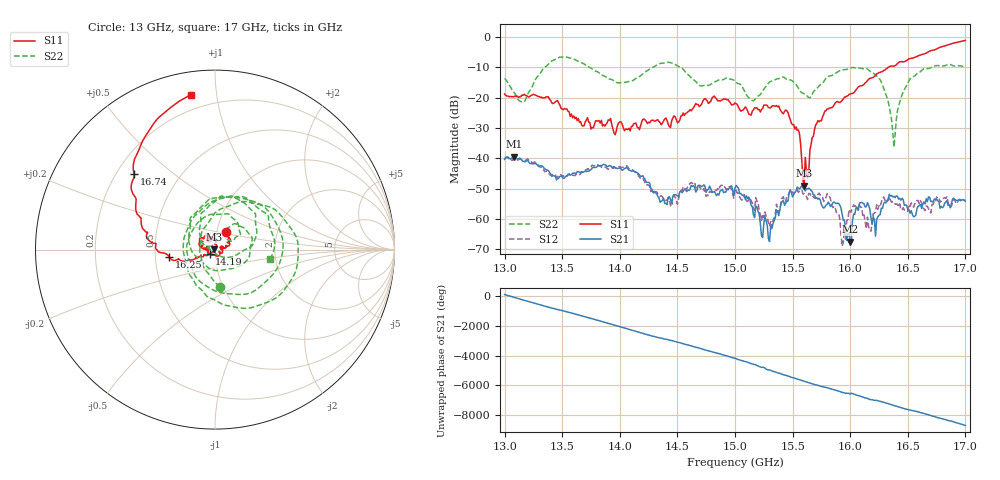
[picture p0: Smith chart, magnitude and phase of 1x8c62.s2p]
!Keysight Technologies,P9374A,MY57211807,A.19.30.04
!Date: Friday, May 08, 2026 15:12:56
!Correction: S11(C  2-Port  )
!S21(C  2-Port  )
!S12(C  2-Port  )
!S22(C  2-Port  )
!S2P File: Measurements: S11, S21, S12, S22:
# Hz S  dB  R 50
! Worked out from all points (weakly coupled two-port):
!   401 points, 13 GHz to 17 GHz, reference 50 ohm
!   highest |S21| = -39.43 dB at 13.08 GHz (marker M1); lowest = -67.5 dB at 16 GHz (marker M2)
!   lowest |S11| = -49.0 dB at 15.6 GHz (marker M3), VSWR 1.01, Z = 49.7 + j0.0959 ohm
!   |S11| at or under -10 dB: start of sweep to 16.33 GHz
!   |S22| runs from -36.3 to -6.6 dB; largest |S21 - S12| = 0.0011
!   S11 on the Smith chart (normalised r, x): 13 GHz: 1.11, +0.22; 14.19 GHz: 0.94, -0.05; 16.25 GHz: 0.59, -0.05; 16.74 GHz: 0.27, +0.37; 17 GHz: 0.12, +0.85
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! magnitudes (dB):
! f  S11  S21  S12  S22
! 13 GHz  -18.8  -40.4  -40.1  -13.6
! 13.08 GHz  -19.7  -39.4  -39.9  -18.2
! 13.67 GHz  -29.1  -44.4  -44.5  -8.5
! 14.19 GHz  -28.0  -45.8  -46.4  -12.5
! 14.34 GHz  -27.9  -53.0  -52.0  -8.9
! 15 GHz  -21.8  -49.8  -50.0  -14.6
! 15.15 GHz  -24.5  -55.9  -54.7  -21.0
! 15.3 GHz  -23.4  -67.4  -62.4  -14.9
! 15.54 GHz  -30.8  -49.4  -50.2  -16.2
! 15.6 GHz  -49.0  -49.8  -51.6  -18.7
! 15.67 GHz  -33.1  -50.9  -52.8  -18.8
! 15.81 GHz  -23.7  -54.4  -51.8  -13.0
! 15.94 GHz  -20.4  -60.4  -67.7  -10.8
! 16 GHz  -18.9  -67.5  -57.6  -10.4
! 16.1 GHz  -16.1  -54.5  -56.1  -10.4
! 16.16 GHz  -14.0  -55.4  -62.4  -10.9
! 16.25 GHz  -11.7  -58.7  -55.6  -13.6
! 16.34 GHz  -9.9  -51.8  -52.6  -23.1
! 16.38 GHz  -9.6  -52.5  -54.4  -36.3
! 16.51 GHz  -7.3  -56.9  -55.3  -14.5
! 16.74 GHz  -4.2  -53.5  -54.5  -9.5
! 17 GHz  -1.2  -54.1  -53.8  -10.1
